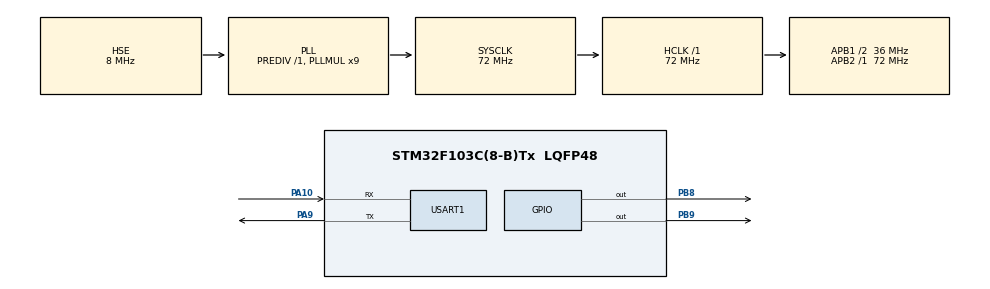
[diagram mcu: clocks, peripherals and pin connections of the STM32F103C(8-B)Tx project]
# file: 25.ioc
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Dma.Request0=USART1_RX
Dma.Request1=USART1_TX
Dma.USART1_RX.0.Direction=DMA_PERIPH_TO_MEMORY
Dma.USART1_RX.0.Instance=DMA1_Channel5
Dma.USART1_RX.0.MemDataAlignment=DMA_MDATAALIGN_BYTE
Dma.USART1_RX.0.MemInc=DMA_MINC_ENABLE
Dma.USART1_RX.0.Mode=DMA_NORMAL
Dma.USART1_RX.0.PeriphDataAlignment=DMA_PDATAALIGN_BYTE
Dma.USART1_RX.0.PeriphInc=DMA_PINC_DISABLE
Dma.USART1_RX.0.Priority=DMA_PRIORITY_LOW
Dma.USART1_TX.1.Direction=DMA_MEMORY_TO_PERIPH
Dma.USART1_TX.1.Instance=DMA1_Channel4
Dma.USART1_TX.1.MemDataAlignment=DMA_MDATAALIGN_BYTE
Dma.USART1_TX.1.MemInc=DMA_MINC_ENABLE
Dma.USART1_TX.1.Mode=DMA_NORMAL
Dma.USART1_TX.1.PeriphDataAlignment=DMA_PDATAALIGN_BYTE
Dma.USART1_TX.1.PeriphInc=DMA_PINC_DISABLE
Dma.USART1_TX.1.Priority=DMA_PRIORITY_LOW
Mcu.Family=STM32F1
Mcu.Name=STM32F103C(8-B)Tx
Mcu.Package=LQFP48
NVIC.DMA1_Channel4_IRQn=true\:0\:0\:false\:false\:true\:false\:true\:true
NVIC.DMA1_Channel5_IRQn=true\:0\:0\:false\:false\:true\:false\:true\:true
NVIC.PriorityGroup=NVIC_PRIORITYGROUP_4
NVIC.USART1_IRQn=true\:0\:0\:false\:false\:true\:true\:true\:true
PA10.Mode=Asynchronous
PA10.Signal=USART1_RX
PA13.Mode=Serial_Wire
PA13.Signal=SYS_JTMS-SWDIO
PA14.Mode=Serial_Wire
PA14.Signal=SYS_JTCK-SWCLK
PA9.Mode=Asynchronous
PA9.Signal=USART1_TX
PB8.GPIO_ModeDefaultOutputPP=GPIO_MODE_OUTPUT_OD
PB8.GPIO_PuPd=GPIO_PULLUP
PB8.Signal=GPIO_Output
PB9.GPIO_ModeDefaultOutputPP=GPIO_MODE_OUTPUT_OD
PB9.GPIO_PuPd=GPIO_PULLUP
PB9.Signal=GPIO_Output
PD0-OSC_IN.Mode=HSE-External-Oscillator
PD0-OSC_IN.Signal=RCC_OSC_IN
PD1-OSC_OUT.Mode=HSE-External-Oscillator
PD1-OSC_OUT.Signal=RCC_OSC_OUT
ProjectManager.HeapSize=0x200
ProjectManager.StackSize=0x400
ProjectManager.TargetToolchain=MDK-ARM V5.32
RCC.AHBFreq_Value=72000000
RCC.APB1CLKDivider=RCC_HCLK_DIV2
RCC.APB1Freq_Value=36000000
RCC.APB1TimFreq_Value=72000000
RCC.APB2Freq_Value=72000000
RCC.APB2TimFreq_Value=72000000
RCC.HCLKFreq_Value=72000000
RCC.PLLMUL=RCC_PLL_MUL9
RCC.PLLSourceVirtual=RCC_PLLSOURCE_HSE
RCC.SYSCLKFreq_VALUE=72000000
RCC.SYSCLKSource=RCC_SYSCLKSOURCE_PLLCLK
RCC.USBFreq_Value=72000000
USART1.VirtualMode=VM_ASYNC
board=custom

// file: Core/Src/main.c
/* USER CODE BEGIN Header */
/**
 ******************************************************************************
 * @file           : main.c
 * @brief          : Main program body
 ******************************************************************************
 * @attention
 *
 * Copyright (c) 2026 STMicroelectronics.
 * All rights reserved.
 *
 * This software is licensed under terms that can be found in the LICENSE file
 * in the root directory of this software component.
 * If no LICENSE file comes with this software, it is provided AS-IS.
 *
 ******************************************************************************
 */
/* USER CODE END Header */
#include "main.h"
#include "dma.h"
#include "usart.h"
#include "gpio.h"

/* USER CODE BEGIN Includes */
#include "OLED.h"

/* USER CODE END Includes */

/* USER CODE BEGIN PV */
uint8_t receiveData[50];

/* USER CODE END PV */

void SystemClock_Config(void);

/* USER CODE BEGIN 0 */
void HAL_UARTEx_RxEventCallback(UART_HandleTypeDef *huart, uint16_t Size)
{

  if (huart->Instance == USART1)
  {

    HAL_UART_Transmit_DMA(&huart1, receiveData, sizeof(receiveData)); // 通过 DMA（直接存储器访问） 方式异步发送串口数据

    HAL_UARTEx_ReceiveToIdle_DMA(&huart1, receiveData, sizeof(receiveData)); // 重新启动 UART 的 DMA 接收功能，以便继续接收下一批数据
  }
}

/* USER CODE END 0 */

int main(void)
{

  /* MCU Configuration--------------------------------------------------------*/

  /* Reset of all peripherals, Initializes the Flash interface and the Systick. */
  HAL_Init();

  /* Configure the system clock */
  SystemClock_Config();

  /* Initialize all configured peripherals */
  MX_GPIO_Init();
  MX_DMA_Init();
  MX_USART1_UART_Init();
  /* USER CODE BEGIN 2 */
  OLED_Init(); // 初始化 OLED 显示屏

  OLED_ShowString(1, 1, "RxData:"); // 在 OLED 显示屏的第一行第一列显示 "RxData:" 字符串，提示用户接收数据的显示位置

  // 启动 UART 的 DMA 接收功能，接收数据到 receiveData 数组中，大小为 sizeof(receiveData) 字节。
  // 当 UART 接收到数据并且检测到 IDLE 线时，DMA 将停止接收，并通过回调函数 HAL_UARTEx_RxEventCallback 通知用户数据已准备好处理。
  HAL_UARTEx_ReceiveToIdle_DMA(&huart1, receiveData, sizeof(receiveData));

  /* USER CODE END 2 */

  /* Infinite loop */
  /* USER CODE BEGIN WHILE */
  while (1)
  {
    OLED_ShowString(1, 9, receiveData); // 在 OLED 显示屏的第一行第九列显示 receiveData 数组中的数据，显示接收到的数据内容
    OLED_ShowString(2, 1, "Running");   // 在 OLED 显示屏的第二行第一列显示 "Running" 字符串，提示程序正在运行
    HAL_Delay(500);                     // 延迟 500 毫秒，控制 OLED 显示屏的刷新频率，避免过于频繁地更新显示内容
    OLED_ShowString(2, 1, "        ");  // 在 OLED 显示屏的第二行第一列显示空格字符串，清除之前显示的 "Running" 字符串，为下一次显示做准备
    HAL_Delay(500);                     // 再次延迟 500 毫秒

    HAL_SuspendTick(); // 暂停系统时钟滴答中断，进入低功耗模式，等待下一次中断事件（如 UART 接收完成）唤醒系统继续执行，如果不暂停滴答中断，系统将继续正常运行，无法进入低功耗模式，从而无法实现节能效果
    // PWR_MAINREGULATOR_ON 表示在睡眠模式下保持主电压调节器开启，PWR_SLEEPENTRY_WFI 表示使用 "等待中断"（Wait For Interrupt）方式进入睡眠模式
    HAL_PWR_EnterSLEEPMode(PWR_MAINREGULATOR_ON, PWR_SLEEPENTRY_WFI); // 进入睡眠模式，等待中断事件唤醒系统继续执行
    HAL_ResumeTick();                                                 // 恢复系统时钟滴答中断，继续正常运行
    /* USER CODE END WHILE */

  }
}

void SystemClock_Config(void)
{
  RCC_OscInitTypeDef RCC_OscInitStruct = {0};
  RCC_ClkInitTypeDef RCC_ClkInitStruct = {0};

  /** Initializes the RCC Oscillators according to the specified parameters
   * in the RCC_OscInitTypeDef structure.
   */
  RCC_OscInitStruct.OscillatorType = RCC_OSCILLATORTYPE_HSE;
  RCC_OscInitStruct.HSEState = RCC_HSE_ON;
  RCC_OscInitStruct.HSEPredivValue = RCC_HSE_PREDIV_DIV1;
  RCC_OscInitStruct.HSIState = RCC_HSI_ON;
  RCC_OscInitStruct.PLL.PLLState = RCC_PLL_ON;
  RCC_OscInitStruct.PLL.PLLSource = RCC_PLLSOURCE_HSE;
  RCC_OscInitStruct.PLL.PLLMUL = RCC_PLL_MUL9;
  if (HAL_RCC_OscConfig(&RCC_OscInitStruct) != HAL_OK)
  {
    Error_Handler();
  }

  /** Initializes the CPU, AHB and APB buses clocks
   */
  RCC_ClkInitStruct.ClockType = RCC_CLOCKTYPE_HCLK | RCC_CLOCKTYPE_SYSCLK | RCC_CLOCKTYPE_PCLK1 | RCC_CLOCKTYPE_PCLK2;
  RCC_ClkInitStruct.SYSCLKSource = RCC_SYSCLKSOURCE_PLLCLK;
  RCC_ClkInitStruct.AHBCLKDivider = RCC_SYSCLK_DIV1;
  RCC_ClkInitStruct.APB1CLKDivider = RCC_HCLK_DIV2;
  RCC_ClkInitStruct.APB2CLKDivider = RCC_HCLK_DIV1;

  if (HAL_RCC_ClockConfig(&RCC_ClkInitStruct, FLASH_LATENCY_2) != HAL_OK)
  {
    Error_Handler();
  }
}

void Error_Handler(void)
{
  __disable_irq();
  while (1)
  {
  }
}
